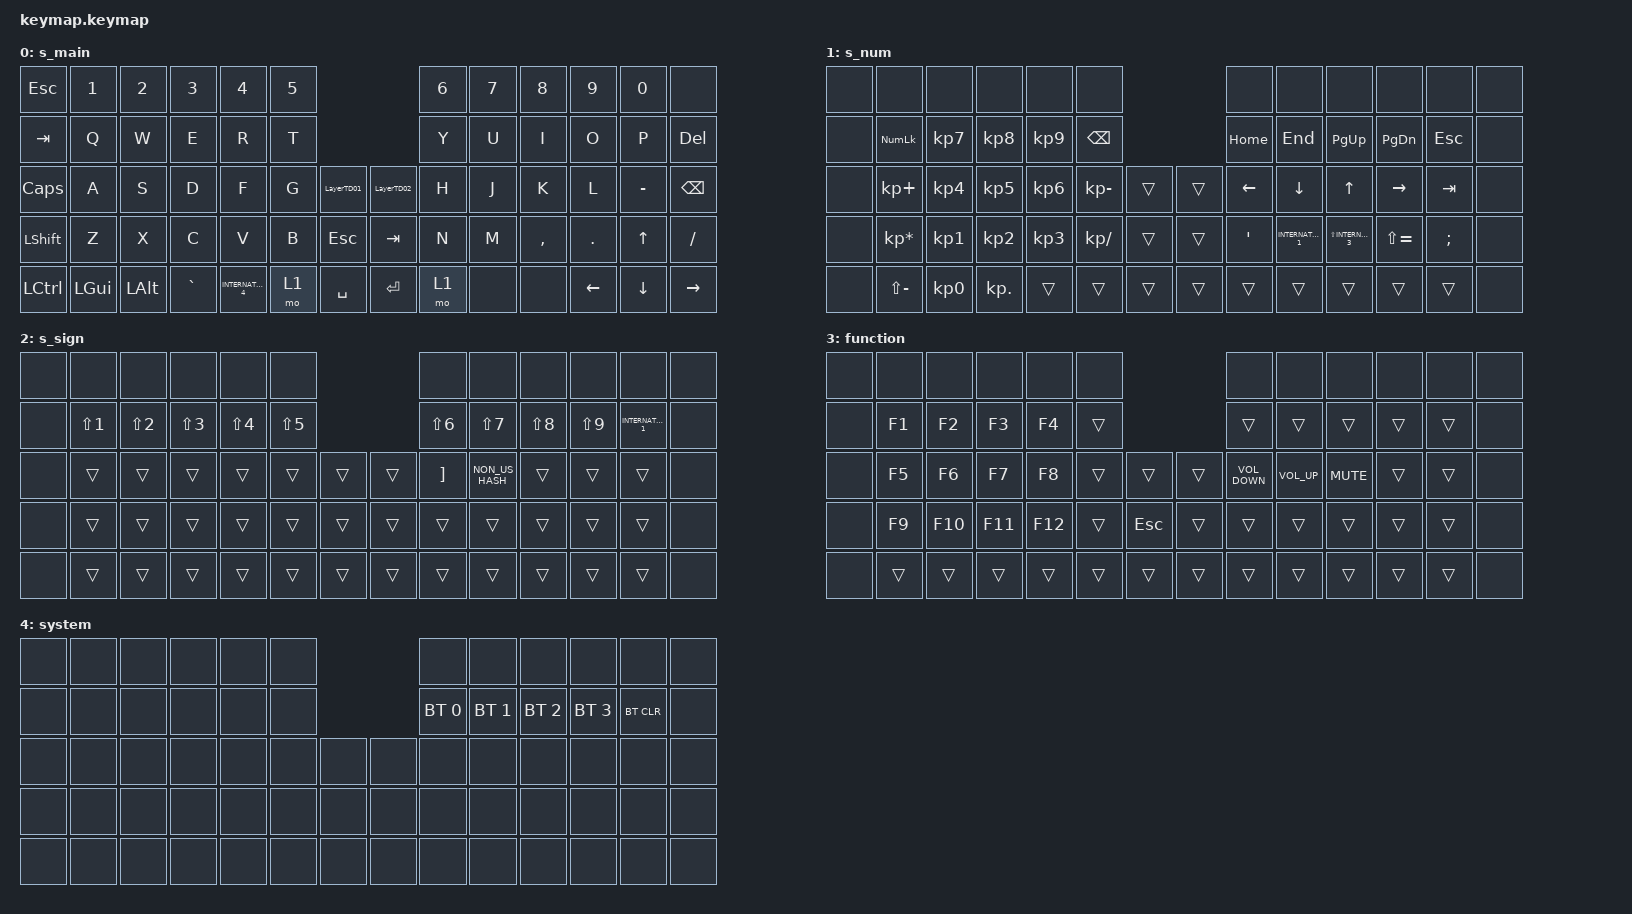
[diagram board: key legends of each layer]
#include <behaviors.dtsi>
#include <dt-bindings/zmk/bt.h>
#include <dt-bindings/zmk/keys.h>
#include <dt-bindings/zmk/pointing.h>

/ {
    combos {
        compatible = "zmk,combos";

        right_click {
            bindings = <&mkp MB2>;
            key-positions = <28 29>;
            layers = <0>;
        };

        left_click {
            bindings = <&mkp MB1>;
            key-positions = <27 28>;
        };

        middle_click {
            bindings = <&mkp MB3>;
            key-positions = <27 28 29>;
        };

        backspace {
            bindings = <&kp BACKSPACE>;
            key-positions = <46 47>;
        };

        delete {
            bindings = <&kp DELETE>;
            key-positions = <47 48>;
        };

        left_click2 {
            bindings = <&mkp MB1>;
            key-positions = <32 33>;
        };

        right_click2 {
            bindings = <&mkp MB2>;
            key-positions = <33 34>;
        };

        middle_click2 {
            bindings = <&mkp MB3>;
            key-positions = <32 33 34>;
        };

        resetbt {
            bindings = <&lt 4 A>;
            key-positions = <49 50 64>;
        };

        mo2L {
            bindings = <&mo 2>;
            key-positions = <44 57>;
        };

        mo2R {
            bindings = <&mo 2>;
            key-positions = <45 60>;
        };

        mo3L {
            bindings = <&mo 3>;
            key-positions = <44 58 57>;
        };

        mo3R {
            bindings = <&mo 3>;
            key-positions = <59 45 60>;
        };

        grave {
            bindings = <&kp GRAVE>;
            key-positions = <41 42>;
        };

        int4 {
            bindings = <&kp INTERNATIONAL_4>;
            key-positions = <43 42>;
        };
    };

    behaviors {
        LayerTD01: LayerTD01 {
            compatible = "zmk,behavior-tap-dance";
            label = "LAYERTD01";
            #binding-cells = <0>;
            bindings = <&to 0>, <&to 2>;

            tapping-term-ms = <300>;
        };

        LayerTD02: LayerTD02 {
            compatible = "zmk,behavior-tap-dance";
            label = "LAYERTD02";
            #binding-cells = <0>;
            bindings = <&to 1>, <&to 3>;

            tapping-term-ms = <300>;
        };

        HOME_END: HOME_END {
            compatible = "zmk,behavior-tap-dance";
            label = "HOME_END";
            #binding-cells = <0>;
            bindings = <&kp HOME>, <&kp END>;
        };
    };

    keymap {
        compatible = "zmk,keymap";

        s_main {
            bindings = <
&kp ESCAPE      &kp NUMBER_1  &kp N2        &kp N3     &kp N4               &kp N5                          &kp N6  &kp N7  &kp N8     &kp N9          &kp N0          &none
&kp TAB         &kp Q         &kp W         &kp E      &kp R                &kp T                           &kp Y   &kp U   &kp I      &kp O           &kp P           &kp DELETE
&kp CAPSLOCK    &kp A         &kp S         &kp D      &kp F                &kp G   &LayerTD01  &LayerTD02  &kp H   &kp J   &kp K      &kp L           &kp MINUS       &kp BACKSPACE
&kp LEFT_SHIFT  &kp Z         &kp X         &kp C      &kp V                &kp B   &kp ESCAPE  &kp TAB     &kp N   &kp M   &kp COMMA  &kp PERIOD      &kp UP_ARROW    &kp SLASH
&kp LCTRL       &kp LEFT_GUI  &kp LEFT_ALT  &kp GRAVE  &kp INTERNATIONAL_4  &mo 1   &kp SPACE   &kp ENTER   &mo 1   &none   &none      &kp LEFT_ARROW  &kp DOWN_ARROW  &kp RIGHT_ARROW
            >;
        };

        s_num {
            bindings = <
&none  &none            &none            &none            &none            &none                          &none             &none                &none                    &none          &none          &none
&none  &kp KP_NUMLOCK   &kp KP_N7        &kp KP_NUMBER_8  &kp KP_NUMBER_9  &kp BACKSPACE                  &kp HOME          &kp END              &kp PG_UP                &kp PAGE_DOWN  &kp ESCAPE     &none
&none  &kp KP_PLUS      &kp KP_NUMBER_4  &kp KP_N5        &kp KP_N6        &kp KP_MINUS   &trans  &trans  &kp LEFT          &kp DOWN             &kp UP_ARROW             &kp RIGHT      &kp TAB        &none
&none  &kp KP_MULTIPLY  &kp KP_N1        &kp KP_N2        &kp KP_N3        &kp KP_SLASH   &trans  &trans  &kp SINGLE_QUOTE  &kp INTERNATIONAL_1  &kp LS(INTERNATIONAL_3)  &kp LS(EQUAL)  &kp SEMICOLON  &none
&none  &kp LS(MINUS)    &kp KP_NUMBER_0  &kp KP_DOT       &trans           &trans         &trans  &trans  &trans            &trans               &trans                   &trans         &trans         &none
            >;
        };

        s_sign {
            bindings = <
&none  &none             &none             &none             &none             &none                       &none              &none            &none       &none       &none                &none
&none  &kp LS(NUMBER_1)  &kp LS(NUMBER_2)  &kp LS(NUMBER_3)  &kp LS(NUMBER_4)  &kp LS(N5)                  &kp LS(NUMBER_6)   &kp LS(N7)       &kp LS(N8)  &kp LS(N9)  &kp INTERNATIONAL_1  &none
&none  &trans            &trans            &trans            &trans            &trans      &trans  &trans  &kp RIGHT_BRACKET  &kp NON_US_HASH  &trans      &trans      &trans               &none
&none  &trans            &trans            &trans            &trans            &trans      &trans  &trans  &trans             &trans           &trans      &trans      &trans               &none
&none  &trans            &trans            &trans            &trans            &trans      &trans  &trans  &trans             &trans           &trans      &trans      &trans               &none
            >;
        };

        function {
            bindings = <
&none  &none   &none    &none    &none    &none                    &none              &none            &none       &none   &none   &none
&none  &kp F1  &kp F2   &kp F3   &kp F4   &trans                   &trans             &trans           &trans      &trans  &trans  &none
&none  &kp F5  &kp F6   &kp F7   &kp F8   &trans  &trans   &trans  &kp C_VOLUME_DOWN  &kp C_VOLUME_UP  &kp K_MUTE  &trans  &trans  &none
&none  &kp F9  &kp F10  &kp F11  &kp F12  &trans  &kp ESC  &trans  &trans             &trans           &trans      &trans  &trans  &none
&none  &trans  &trans   &trans   &trans   &trans  &trans   &trans  &trans             &trans           &trans      &trans  &trans  &none
            >;
        };

        system {
            bindings = <
&none  &none  &none  &none  &none  &none                &none         &none         &none         &none         &none       &none
&none  &none  &none  &none  &none  &none                &bt BT_SEL 0  &bt BT_SEL 1  &bt BT_SEL 2  &bt BT_SEL 3  &bt BT_CLR  &none
&none  &none  &none  &none  &none  &none  &none  &none  &none         &none         &none         &none         &none       &none
&none  &none  &none  &none  &none  &none  &none  &none  &none         &none         &none         &none         &none       &none
&none  &none  &none  &none  &none  &none  &none  &none  &none         &none         &none         &none         &none       &none
            >;
        };
    };
};
